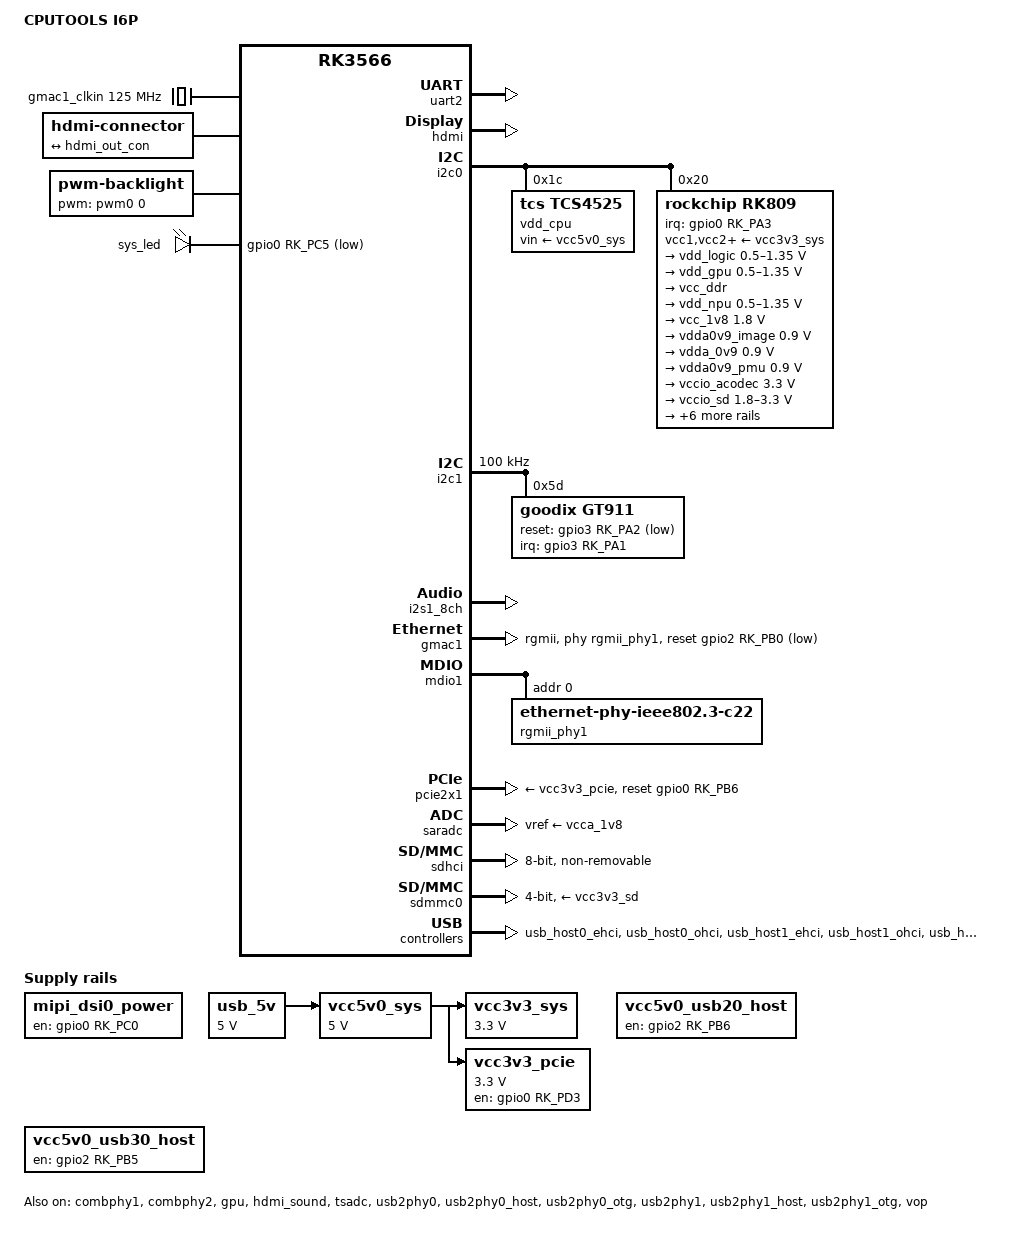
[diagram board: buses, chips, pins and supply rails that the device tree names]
// SPDX-License-Identifier: (GPL-2.0+ OR MIT)
/*
* Copyright (c) 2021 Rockchip Electronics Co., Ltd.
* Copyright (c) 2023 cputools <846863428@qq.com>
*/

/dts-v1/;
#include <dt-bindings/gpio/gpio.h>
#include <dt-bindings/leds/common.h>
#include <dt-bindings/pinctrl/rockchip.h>
#include <dt-bindings/soc/rockchip,vop2.h>
#include "rk3566.dtsi"

/ {
	model = "CPUTOOLS I6P";
	compatible = "i2c,cputools-i6p", "rockchip,rk3566";

	aliases {
		ethernet0 = &gmac1;
		mmc0 = &sdmmc0;
		mmc1 = &sdhci;
	};

	chosen: chosen {
		stdout-path = "serial2:1500000n8";
	};

	gmac1_clkin: external-gmac1-clock {
		compatible = "fixed-clock";
		clock-frequency = <125000000>;
		clock-output-names = "gmac1_clkin";
		#clock-cells = <0>;
	};
	
	hdmi-con {
		compatible = "hdmi-connector";
		type = "a";

		port {
			hdmi_con_in: endpoint {
				remote-endpoint = <&hdmi_out_con>;
			};
		};
	};

	backlight: backlight {
		status = "okay";
		compatible = "pwm-backlight";
		pwms = <&pwm0 0 50000 0>;
		brightness-levels = <
			 95  95  95  95  95  95  95  95
			 95  95  95  95  95  95  95  95
			 95  95  95  95  95  95  95  95
			 95  95  95  95  95  95  95  95
			 95  95  95  95  95  95  95  95
			 95  95  95  95  95  95  95  95
			 95  95  95  95  95  95  95  95
			 95  95  95  95  95  95  95  95
			 95  95  95  95  95  95  95  95
			 95  95  95  95  95  95  95  95
			 95  95  95  95  95  95  95  95
			 88  89  90  91  92  93  94  95
			 96  97  98  99 100 101 102 103
			104 105 106 107 108 109 110 111
			112 113 114 115 116 117 118 119
			120 121 122 123 124 125 126 127
			128 129 130 131 132 133 134 135
			136 137 138 139 140 141 142 143
			144 145 146 147 148 149 150 151
			152 153 154 155 156 157 158 159
			160 161 162 163 164 165 166 167
			168 169 170 171 172 173 174 175
			176 177 178 179 180 181 182 183
			184 185 186 187 188 189 190 191
			192 193 194 195 196 197 198 199
			200 201 202 203 204 205 206 207
			208 209 210 211 212 213 214 215
			216 217 218 219 220 221 222 223
			224 225 226 227 228 229 230 231
			232 233 234 235 236 237 238 239
			240 241 242 243 244 245 246 247
			248 249 250 251 252 253 254 255
		>;
		default-brightness-level = <200>;
	};

	mipi_dsi0_power: mipi-dsi0-power-regulator {
		compatible = "regulator-fixed";
		enable-active-high;
		gpio = <&gpio0 RK_PC0 GPIO_ACTIVE_HIGH>;
		pinctrl-names = "default";
		pinctrl-0 = <&mipi_dsi0_pwr_en>;
		regulator-name = "mipi_dsi0_power";
		regulator-always-on;
	};

	otp: otp@fe38c000 {
		compatible = "rockchip,rk3568-otp";
		reg = <0x0 0xfe38c000 0x0 0x4000>;
		#address-cells = <1>;
		#size-cells = <1>;
		clocks = <&cru CLK_OTPC_NS_USR>, <&cru CLK_OTPC_NS_SBPI>,
			 <&cru PCLK_OTPC_NS>, <&cru PCLK_OTPPHY>;
		clock-names = "usr", "sbpi", "apb", "phy";
		resets = <&cru SRST_OTPPHY>;
		reset-names = "otp_phy";

		/* Data cells */
		cpu_code: cpu-code@2 {
			reg = <0x02 0x2>;
		};
		otp_cpu_version: cpu-version@8 {
			reg = <0x08 0x1>;
			bits = <3 3>;
		};
		mbist_vmin: mbist-vmin@9 {
			reg = <0x09 0x1>;
			bits = <0 4>;
		};
		otp_id: id@a {
			reg = <0x0a 0x10>;
		};
		cpu_leakage: cpu-leakage@1a {
			reg = <0x1a 0x1>;
		};
		log_leakage: log-leakage@1b {
			reg = <0x1b 0x1>;
		};
		npu_leakage: npu-leakage@1c {
			reg = <0x1c 0x1>;
		};
		gpu_leakage: gpu-leakage@1d {
			reg = <0x1d 0x1>;
		};
		core_pvtm:core-pvtm@2a {
			reg = <0x2a 0x2>;
		};
	};

	dmc_opp_table: dmc-opp-table {
		compatible = "operating-points-v2";

		mbist-vmin = <825000 900000 950000>;
		nvmem-cells = <&log_leakage>, <&core_pvtm>, <&mbist_vmin>;
		nvmem-cell-names = "leakage", "pvtm", "mbist-vmin";
		rockchip,temp-hysteresis = <5000>;
		rockchip,low-temp = <0>;
		rockchip,low-temp-adjust-volt = <
			/* MHz    MHz    uV */
			   0      1560   75000
		>;
		rockchip,leakage-voltage-sel = <
			1   80    0
			81  254   1
		>;
		rockchip,pvtm-voltage-sel = <
			0        84000   0
			84001    100000  1
		>;
		rockchip,pvtm-ch = <0 5>;

		opp-1560000000 {
			opp-hz = /bits/ 64 <1560000000>;
			opp-microvolt = <900000>;
			opp-microvolt-L0 = <900000>;
			opp-microvolt-L1 = <850000>;
		};
	};

	dfi: dfi@fe230000 {
		reg = <0x00 0xfe230000 0x00 0x400>;
		compatible = "rockchip,rk3568-dfi";
		rockchip,pmugrf = <&pmugrf>;
		status = "disabled";
	};

	vop: vop@fe040000 {
		compatible = "rockchip,rk3568-vop";
		reg = <0x0 0xfe040000 0x0 0x3000>, <0x0 0xfe044000 0x0 0x1000>;
		reg-names = "regs", "gamma_lut";
		rockchip,grf = <&grf>;
		interrupts = <GIC_SPI 148 IRQ_TYPE_LEVEL_HIGH>;
		clocks = <&cru ACLK_VOP>, <&cru HCLK_VOP>, <&cru DCLK_VOP0>, <&cru DCLK_VOP1>, <&cru DCLK_VOP2>;
		clock-names = "aclk_vop", "hclk_vop", "dclk_vp0", "dclk_vp1", "dclk_vp2";
		iommus = <&vop_mmu>;
		power-domains = <&power RK3568_PD_VO>;
		status = "disabled";

		vop_out: ports {
			#address-cells = <1>;
			#size-cells = <0>;

			vp0: port@0 {
				#address-cells = <1>;
				#size-cells = <0>;
				reg = <0>;

				vp0_out_dsi0: endpoint@0 {
					reg = <0>;
					remote-endpoint = <&dsi0_in_vp0>;
				};

				vp0_out_dsi1: endpoint@1 {
					reg = <1>;
					remote-endpoint = <&dsi1_in_vp0>;
				};

				vp0_out_edp: endpoint@2 {
					reg = <2>;
					remote-endpoint = <&edp_in_vp0>;
				};
			};

			vp1: port@1 {
				#address-cells = <1>;
				#size-cells = <0>;
				reg = <1>;

				vp1_out_dsi0: endpoint@0 {
					reg = <0>;
					remote-endpoint = <&dsi0_in_vp1>;
				};

				vp1_out_dsi1: endpoint@1 {
					reg = <1>;
					remote-endpoint = <&dsi1_in_vp1>;
				};


			};

			vp2: port@2 {
				#address-cells = <1>;
				#size-cells = <0>;
				reg = <2>;
			};
		};
	};

	dsi0: dsi@fe060000 {
		compatible = "rockchip,rk3568-mipi-dsi";
		reg = <0x0 0xfe060000 0x0 0x10000>;
		interrupts = <GIC_SPI 68 IRQ_TYPE_LEVEL_HIGH>;
		clocks = <&cru PCLK_DSITX_0>, <&cru HCLK_VO>, <&video_phy0>;
		clock-names = "pclk", "hclk", "hs_clk";
		resets = <&cru SRST_P_DSITX_0>;
		reset-names = "apb";
		phys = <&video_phy0>;
		phy-names = "mipi_dphy";
		power-domains = <&power RK3568_PD_VO>;
		rockchip,grf = <&grf>;
		#address-cells = <1>;
		#size-cells = <0>;
		status = "disabled";

		ports {
			#address-cells = <1>;
			#size-cells = <0>;

			dsi0_in: port@0 {
				reg = <0>;
				#address-cells = <1>;
				#size-cells = <0>;

				dsi0_in_vp0: endpoint@0 {
					reg = <0>;
					remote-endpoint = <&vp0_out_dsi0>;
					status = "disabled";
				};

				dsi0_in_vp1: endpoint@1 {
					reg = <1>;
					remote-endpoint = <&vp1_out_dsi0>;
					status = "disabled";
				};
			};

			port@1 {
				reg = <1>;
				dsi0_out_panel: endpoint {
					remote-endpoint = <&panel_in_dsi0>;
				};
			};
		};

		dsi0_panel: panel@0 {
			status = "disabled";
			compatible = "simple-panel-dsi";
			reg = <0x0>;
			backlight = <&backlight>;
			// reset-gpios = < >;

			// enable-delay-ms = <35>;
			// prepare-delay-ms = <6>;
			// reset-delay-ms = <0>;
			// init-delay-ms = <20>;
			// unprepare-delay-ms = <0>;
			// disable-delay-ms = <20>;

			// size,width = <74>;
			// size,height = <133>;

			// dsi,flags = <(MIPI_DSI_MODE_VIDEO | MIPI_DSI_MODE_VIDEO_BURST | MIPI_DSI_MODE_LPM | MIPI_DSI_MODE_EOT_PACKET)>;
			// dsi,format = <MIPI_DSI_FMT_RGB888>;
			// dsi,lanes  = <4>;

			// panel-init-sequence = [
			// ];

			// panel-exit-sequence = [
			// ];

			// disp_timings0: display-timings {
			// 	native-mode = <&dsi0_timing0>;
			// 	dsi0_timing0: timing0 {
			// 		clock-frequency = <131376000>;
			// 		hactive = <1080>;
			// 		vactive = <1920>;
			// 		hsync-len = <10>;
			// 		hback-porch = <20>;
			// 		hfront-porch = <10>;
			// 		vsync-len = <5>;
			// 		vback-porch = <20>;
			// 		vfront-porch = <10>;
			// 		hsync-active = <0>;
			// 		vsync-active = <0>;
			// 		de-active = <0>;
			// 		pixelclk-active = <0>;
			// 	};
			// };

			ports {
				#address-cells = <1>;
				#size-cells = <0>;
				port@0 {
					reg = <0>;
					panel_in_dsi0: endpoint {
						remote-endpoint = <&dsi0_out_panel>;
					};
				};
			};
		};
	};

	dsi1: dsi@fe070000 {
		compatible = "rockchip,rk3568-mipi-dsi";
		reg = <0x0 0xfe070000 0x0 0x10000>;
		interrupts = <GIC_SPI 69 IRQ_TYPE_LEVEL_HIGH>;
		clocks = <&cru PCLK_DSITX_1>, <&cru HCLK_VO>, <&video_phy1>;
		clock-names = "pclk", "hclk", "hs_clk";
		resets = <&cru SRST_P_DSITX_1>;
		reset-names = "apb";
		phys = <&video_phy1>;
		phy-names = "mipi_dphy";
		power-domains = <&power RK3568_PD_VO>;
		rockchip,grf = <&grf>;
		#address-cells = <1>;
		#size-cells = <0>;
		status = "disabled";

		ports {
			#address-cells = <1>;
			#size-cells = <0>;

			dsi1_in: port@0 {
				reg = <0>;
				#address-cells = <1>;
				#size-cells = <0>;

				dsi1_in_vp0: endpoint@0 {
					reg = <0>;
					remote-endpoint = <&vp0_out_dsi1>;
					status = "disabled";
				};

				dsi1_in_vp1: endpoint@1 {
					reg = <1>;
					remote-endpoint = <&vp1_out_dsi1>;
					status = "disabled";
				};
			};
		};
	};

	reserved_memory: reserved-memory {
		#address-cells = <2>;
		#size-cells = <2>;
		ranges;

		drm_logo: drm-logo@00000000 {
			compatible = "rockchip,drm-logo";
			reg = <0x0 0x0 0x0 0x0>;
		};

		drm_cubic_lut: drm-cubic-lut@00000000 {
			compatible = "rockchip,drm-cubic-lut";
			reg = <0x0 0x0 0x0 0x0>;
		};
	};

	nocp_cpu: nocp-cpu@fe102000 {
		compatible = "rockchip,rk3568-nocp";
		reg = <0x0 0xfe102000 0x0 0x400>;
	};

	dmc: dmc {
		compatible = "rockchip,rk3568-dmc";
		interrupts = <GIC_SPI 10 IRQ_TYPE_LEVEL_HIGH>;
		interrupt-names = "complete";
		devfreq-events = <&dfi>, <&nocp_cpu>;
		clocks = <&scmi_clk 3>;
		clock-names = "dmc_clk";
		operating-points-v2 = <&dmc_opp_table>;
		vop-bw-dmc-freq = <
		/* min_bw(MB/s) max_bw(MB/s) freq(KHz) */
			0	286	324000
			287	99999	528000
		>;
		vop-frame-bw-dmc-freq = <
		/* min_bw(MB/s) max_bw(MB/s) freq(KHz) */
			0	620	324000
			621	99999	780000
		>;
		cpu-bw-dmc-freq = <
		/* min_bw(MB/s) max_bw(MB/s) freq(KHz) */
			0	350	324000
			351	400	528000
			401	99999	780000
		>;
		upthreshold = <40>;
		downdifferential = <20>;
		auto-min-freq = <324000>;
		auto-freq-en = <1>;
		#cooling-cells = <2>;
		status = "disabled";
	};

	display_subsystem: display-subsystem {
		compatible = "rockchip,display-subsystem";
		memory-region = <&drm_logo>, <&drm_cubic_lut>;
		memory-region-names = "drm-logo", "drm-cubic-lut";
		ports = <&vop_out>;
		devfreq = <&dmc>;

		route {
			route_dsi0: route-dsi0 {
				status = "disabled";
				logo,uboot = "logo.bmp";
				logo,kernel = "logo_kernel.bmp";
				logo,mode = "center";
				charge_logo,mode = "center";
				connect = <&vp0_out_dsi0>;
			};
			route_dsi1: route-dsi1 {
				status = "disabled";
				logo,uboot = "logo.bmp";
				logo,kernel = "logo_kernel.bmp";
				logo,mode = "center";
				charge_logo,mode = "center";
				connect = <&vp0_out_dsi1>;
			};
		};
	};

	gpio-leds {
		compatible = "gpio-leds";

		sys_led: sys-led {
			label = "sys_led";
			linux,default-trigger = "heartbeat";
			default-state = "on";
			gpios = <&gpio0 RK_PC5 GPIO_ACTIVE_LOW>;
			pinctrl-names = "default";
			pinctrl-0 = <&sys_led_pin>;
		};
	};

	usb_5v: usb-5v-regulator {
		compatible = "regulator-fixed";
		regulator-name = "usb_5v";
		regulator-always-on;
		regulator-boot-on;
		regulator-min-microvolt = <5000000>;
		regulator-max-microvolt = <5000000>;
	};

	vcc5v0_sys: vcc5v0-sys-regulator {
		compatible = "regulator-fixed";
		regulator-name = "vcc5v0_sys";
		regulator-always-on;
		regulator-boot-on;
		regulator-min-microvolt = <5000000>;
		regulator-max-microvolt = <5000000>;
		vin-supply = <&usb_5v>;
	};

	vcc3v3_sys: vcc3v3-sys-regulator {
		compatible = "regulator-fixed";
		regulator-name = "vcc3v3_sys";
		regulator-always-on;
		regulator-boot-on;
		regulator-min-microvolt = <3300000>;
		regulator-max-microvolt = <3300000>;
		vin-supply = <&vcc5v0_sys>;
	};

	vcc3v3_pcie: vcc3v3-pcie-regulator {
		compatible = "regulator-fixed";
		regulator-name = "vcc3v3_pcie";
		regulator-min-microvolt = <3300000>;
		regulator-max-microvolt = <3300000>;
		enable-active-high;
		gpio = <&gpio0 RK_PD3 GPIO_ACTIVE_HIGH>;
		startup-delay-us = <5000>;
		vin-supply = <&vcc5v0_sys>;
	};

	vcc5v0_usb20_host: vcc5v0-usb20-host-regulator {
		compatible = "regulator-fixed";
		enable-active-high;
		gpio = <&gpio2 RK_PB6 GPIO_ACTIVE_HIGH>;
		pinctrl-names = "default";
		pinctrl-0 = <&vcc5v0_usb20_host_en>;
		regulator-name = "vcc5v0_usb20_host";
		regulator-always-on;
	};

	vcc5v0_usb30_host: vcc5v0-usb30-host-regulator {
		compatible = "regulator-fixed";
		enable-active-high;
		gpio = <&gpio2 RK_PB5 GPIO_ACTIVE_HIGH>;
		pinctrl-names = "default";
		pinctrl-0 = <&vcc5v0_usb30_host_en>;
		regulator-name = "vcc5v0_usb30_host";
		regulator-always-on;
	};
};

&uart2 {
	status = "okay";
};

&combphy1 {
	status = "okay";
};

&combphy2 {
	status = "okay";
};

&cpu0 {
	cpu-supply = <&vdd_cpu>;
};

&cpu1 {
	cpu-supply = <&vdd_cpu>;
};

&cpu2 {
	cpu-supply = <&vdd_cpu>;
};

&cpu3 {
	cpu-supply = <&vdd_cpu>;
};

&gpu {
	mali-supply = <&vdd_gpu>;
	status = "okay";
};

&hdmi {
	avdd-0v9-supply = <&vdda0v9_image>;
	avdd-1v8-supply = <&vcca1v8_image>;
	status = "okay";
};

&hdmi_in {
	hdmi_in_vp0: endpoint {
		remote-endpoint = <&vp0_out_hdmi>;
	};
};

&hdmi_out {
	hdmi_out_con: endpoint {
		remote-endpoint = <&hdmi_con_in>;
	};
};

&hdmi_sound {
	status = "okay";
};

&i2c0 {
	status = "okay";

	vdd_cpu: regulator@1c {
		compatible = "tcs,tcs4525";
		reg = <0x1c>;
		fcs,suspend-voltage-selector = <1>;
		regulator-name = "vdd_cpu";
		regulator-always-on;
		regulator-boot-on;
		regulator-min-microvolt = <800000>;
		regulator-max-microvolt = <1150000>;
		regulator-ramp-delay = <2300>;
		vin-supply = <&vcc5v0_sys>;

		regulator-state-mem {
			regulator-off-in-suspend;
		};
	};

	rk809: pmic@20 {
		compatible = "rockchip,rk809";
		reg = <0x20>;
		interrupt-parent = <&gpio0>;
		interrupts = <RK_PA3 IRQ_TYPE_LEVEL_LOW>;
		clock-output-names = "rk808-clkout1", "rk808-clkout2";

		pinctrl-names = "default";
		pinctrl-0 = <&pmic_int>;
		rockchip,system-power-controller;
		wakeup-source;
		#clock-cells = <1>;

		vcc1-supply = <&vcc3v3_sys>;
		vcc2-supply = <&vcc3v3_sys>;
		vcc3-supply = <&vcc3v3_sys>;
		vcc4-supply = <&vcc3v3_sys>;
		vcc5-supply = <&vcc3v3_sys>;
		vcc6-supply = <&vcc3v3_sys>;
		vcc7-supply = <&vcc3v3_sys>;
		vcc8-supply = <&vcc3v3_sys>;
		vcc9-supply = <&vcc3v3_sys>;

		regulators {
			vdd_logic: DCDC_REG1 {
				regulator-name = "vdd_logic";
				regulator-always-on;
				regulator-boot-on;
				regulator-min-microvolt = <500000>;
				regulator-max-microvolt = <1350000>;
				regulator-init-microvolt = <900000>;
				regulator-ramp-delay = <6001>;
				regulator-initial-mode = <0x2>;

				regulator-state-mem {
					regulator-off-in-suspend;
				};
			};

			vdd_gpu: DCDC_REG2 {
				regulator-name = "vdd_gpu";
				regulator-always-on;
				regulator-boot-on;
				regulator-min-microvolt = <500000>;
				regulator-max-microvolt = <1350000>;
				regulator-init-microvolt = <900000>;
				regulator-ramp-delay = <6001>;
				regulator-initial-mode = <0x2>;

				regulator-state-mem {
					regulator-off-in-suspend;
				};
			};

			vcc_ddr: DCDC_REG3 {
				regulator-name = "vcc_ddr";
				regulator-always-on;
				regulator-boot-on;
				regulator-initial-mode = <0x2>;

				regulator-state-mem {
					regulator-on-in-suspend;
				};
			};

			vdd_npu: DCDC_REG4 {
				regulator-name = "vdd_npu";
				regulator-always-on;
				regulator-boot-on;
				regulator-min-microvolt = <500000>;
				regulator-max-microvolt = <1350000>;
				regulator-init-microvolt = <900000>;
				regulator-ramp-delay = <6001>;
				regulator-initial-mode = <0x2>;

				regulator-state-mem {
					regulator-off-in-suspend;
				};
			};

			vcc_1v8: DCDC_REG5 {
				regulator-name = "vcc_1v8";
				regulator-always-on;
				regulator-boot-on;
				regulator-min-microvolt = <1800000>;
				regulator-max-microvolt = <1800000>;

				regulator-state-mem {
					regulator-off-in-suspend;
				};
			};

			vdda0v9_image: LDO_REG1 {
				regulator-name = "vdda0v9_image";
				regulator-boot-on;
				regulator-always-on;
				regulator-min-microvolt = <900000>;
				regulator-max-microvolt = <900000>;

				regulator-state-mem {
					regulator-off-in-suspend;
				};
			};

			vdda_0v9: LDO_REG2 {
				regulator-name = "vdda_0v9";
				regulator-always-on;
				regulator-boot-on;
				regulator-min-microvolt = <900000>;
				regulator-max-microvolt = <900000>;

				regulator-state-mem {
					regulator-off-in-suspend;
				};
			};

			vdda0v9_pmu: LDO_REG3 {
				regulator-name = "vdda0v9_pmu";
				regulator-always-on;
				regulator-boot-on;
				regulator-min-microvolt = <900000>;
				regulator-max-microvolt = <900000>;

				regulator-state-mem {
					regulator-on-in-suspend;
					regulator-suspend-microvolt = <900000>;
				};
			};

			vccio_acodec: LDO_REG4 {
				regulator-name = "vccio_acodec";
				regulator-always-on;
				regulator-boot-on;
				regulator-min-microvolt = <3300000>;
				regulator-max-microvolt = <3300000>;

				regulator-state-mem {
					regulator-off-in-suspend;
				};
			};

			vccio_sd: LDO_REG5 {
				regulator-name = "vccio_sd";
				regulator-always-on;
				regulator-boot-on;
				regulator-min-microvolt = <1800000>;
				regulator-max-microvolt = <3300000>;

				regulator-state-mem {
					regulator-off-in-suspend;
				};
			};

			vcc3v3_pmu: LDO_REG6 {
				regulator-name = "vcc3v3_pmu";
				regulator-always-on;
				regulator-boot-on;
				regulator-min-microvolt = <3300000>;
				regulator-max-microvolt = <3300000>;

				regulator-state-mem {
					regulator-on-in-suspend;
					regulator-suspend-microvolt = <3300000>;
				};
			};

			vcca_1v8: LDO_REG7 {
				regulator-name = "vcca_1v8";
				regulator-always-on;
				regulator-boot-on;
				regulator-min-microvolt = <1800000>;
				regulator-max-microvolt = <1800000>;

				regulator-state-mem {
					regulator-off-in-suspend;
				};
			};

			vcca1v8_pmu: LDO_REG8 {
				regulator-name = "vcca1v8_pmu";
				regulator-always-on;
				regulator-boot-on;
				regulator-min-microvolt = <1800000>;
				regulator-max-microvolt = <1800000>;

				regulator-state-mem {
					regulator-on-in-suspend;
					regulator-suspend-microvolt = <1800000>;
				};
			};

			vcca1v8_image: LDO_REG9 {
				regulator-name = "vcca1v8_image";
				regulator-always-on;
				regulator-boot-on;
				regulator-min-microvolt = <1800000>;
				regulator-max-microvolt = <1800000>;

				regulator-state-mem {
					regulator-off-in-suspend;
				};
			};

			vcc_3v3: SWITCH_REG1 {
				regulator-name = "vcc_3v3";
				regulator-always-on;
				regulator-boot-on;

				regulator-state-mem {
					regulator-off-in-suspend;
				};
			};

			vcc3v3_sd: SWITCH_REG2 {
				regulator-name = "vcc3v3_sd";
				regulator-always-on;
				regulator-boot-on;

				regulator-state-mem {
					regulator-off-in-suspend;
				};
			};
		};
	};
};

&i2c1 {
	status = "okay";
	clock-frequency = <100000>;

	gt911: gt911@5d {
		status = "okay";
		compatible = "goodix,gt911";
		reg = <0x5d>;
		interrupt-parent = <&gpio0>;
		interrupts = <RK_PB5 IRQ_TYPE_LEVEL_LOW>;
		reset-gpios = <&gpio0 RK_PB6 GPIO_ACTIVE_LOW>;
		irq-gpios = <&gpio0 RK_PB5 GPIO_ACTIVE_HIGH>;
		touchscreen-inverted-x = <1>;
		touchscreen-inverted-y = <1>;
	};
};

&i2s1_8ch {
	rockchip,trcm-sync-tx-only;
	status = "okay";
};

&gmac1 {
	phy-mode = "rgmii";
	clock_in_out = "output";
	snps,reset-gpio = <&gpio2 RK_PB0 GPIO_ACTIVE_LOW>;
	snps,reset-active-low;
	/* Reset time is 75ms, 100ms */
	snps,reset-delays-us = <0 75000 100000>;
	assigned-clocks = <&cru SCLK_GMAC1_RX_TX>, <&cru SCLK_GMAC1>;
	assigned-clock-parents = <&cru SCLK_GMAC1_RGMII_SPEED>, <&cru CLK_MAC1_2TOP>;
	assigned-clock-rates = <0>, <125000000>;
	pinctrl-names = "default";
	pinctrl-0 = <&gmac1m1_miim
			&gmac1m1_tx_bus2_level3
			&gmac1m1_rx_bus2
			&gmac1m1_rgmii_clk_level2
			&gmac1m1_rgmii_bus_level3>;
	tx_delay = <0x1a>;
	rx_delay = <0x0c>; 
	phy-handle = <&rgmii_phy1>;
	status = "okay";
};

&mdio1 {
	rgmii_phy1: phy@0 {
		compatible = "ethernet-phy-ieee802.3-c22";
		reg = <0x0>;
	};
};

&pcie2x1 {
	reset-gpios = <&gpio0 RK_PB6 GPIO_ACTIVE_HIGH>;
	disable-gpios = <&gpio0 RK_PA6 GPIO_ACTIVE_HIGH>;
	vpcie3v3-supply = <&vcc3v3_pcie>;
	status = "okay";
};

&pinctrl {
	leds {
		sys_led_pin: sys-status-led-pin {
			rockchip,pins = <0 RK_PC7 RK_FUNC_GPIO &pcfg_pull_none>;
		};
	};

	usb {
		vcc5v0_usb20_host_en: vcc5v0-usb20-host-en {
			rockchip,pins = <2 RK_PB6 RK_FUNC_GPIO &pcfg_pull_none>;
		};

		vcc5v0_usb30_host_en: vcc5v0-usb30-host-en {
			rockchip,pins = <2 RK_PB5 RK_FUNC_GPIO &pcfg_pull_none>;
		};
	};

	pmic {
		pmic_int: pmic_int {
			rockchip,pins =
				<0 RK_PA3 RK_FUNC_GPIO &pcfg_pull_up>;
		};
	};

	lcd {
		mipi_dsi0_pwr_en: mipi-dsi0-pwr-en {
			rockchip,pins = <0 RK_PC0 RK_FUNC_GPIO &pcfg_pull_none>;
		};
	};
};

&pmu_io_domains {
	pmuio2-supply = <&vcc3v3_pmu>;
	vccio1-supply = <&vccio_acodec>;
	vccio3-supply = <&vccio_sd>;
	vccio4-supply = <&vcc_3v3>;
	vccio5-supply = <&vcc_3v3>;
	vccio6-supply = <&vcc_1v8>;
	vccio7-supply = <&vcc_3v3>;
	status = "okay";
};

&saradc {
	vref-supply = <&vcca_1v8>;
	status = "okay";
};

&tsadc {
	rockchip,hw-tshut-mode = <1>;
	rockchip,hw-tshut-polarity = <0>;
	status = "okay";
};

&sdhci {
	assigned-clocks = <&cru BCLK_EMMC>, <&cru TCLK_EMMC>, <&cru CCLK_EMMC>;
	assigned-clock-rates = <200000000>, <24000000>, <200000000>;
	bus-width = <8>;
	max-frequency = <200000000>;
	mmc-hs200-1_8v;		
	non-removable;	
	pinctrl-names = "default";
	pinctrl-0 = <&emmc_bus8 &emmc_clk &emmc_cmd>;	
	supports-emmc;
	status = "okay";
};

&sdmmc0 {
	max-frequency = <150000000>;
	supports-sd;
	bus-width = <4>;
	cap-mmc-highspeed;
	cap-sd-highspeed;
	disable-wp;
	sd-uhs-sdr104;
	vmmc-supply = <&vcc3v3_sd>;
	vqmmc-supply = <&vccio_sd>;
	pinctrl-names = "default";
	pinctrl-0 = <&sdmmc0_bus4 &sdmmc0_clk &sdmmc0_cmd &sdmmc0_det>;
	status = "okay";
};

/* USB OTG/USB Host_1 USB 2.0 Comb */
&usb2phy0 {
	status = "okay";
};

&usb2phy0_host {
	status = "okay";
};

&usb2phy0_otg {
	status = "okay";
};

&usb_host0_ehci {
	status = "okay";
};

&usb_host0_ohci {
	status = "okay";
};

/* USB Host_2/USB Host_3 USB 2.0 Comb */
&usb2phy1 {
	status = "okay";
};

&usb2phy1_host {
	status = "okay";
};

&usb2phy1_otg {
	status = "okay";
};

&usb_host1_ehci {
	status = "okay";
};

&usb_host1_ohci {
	status = "okay";
};

/* USB3.0 Host */
&usb_host1_xhci {
	status = "okay";
};

&vop {
	assigned-clocks = <&cru DCLK_VOP0>, <&cru DCLK_VOP1>;
	assigned-clock-parents = <&pmucru PLL_HPLL>, <&cru PLL_VPLL>;
	status = "okay";
};

&vop_mmu {
	status = "okay";
};

&vp0 {
	vp0_out_hdmi: endpoint@ROCKCHIP_VOP2_EP_HDMI0 {
		reg = <ROCKCHIP_VOP2_EP_HDMI0>;
		remote-endpoint = <&hdmi_in_vp0>;
	};
};

&route_dsi0 {
	status = "okay";
	connect = <&vp0_out_dsi0>;
};

&dsi0_in_vp0 {
	status = "okay";
};

&dsi0_in_vp1 {
	status = "disabled";
};

&dsi0_panel {
	reset-gpios = <&gpio3 RK_PA4 GPIO_ACTIVE_LOW>;
};

&gt911 {
	interrupt-parent = <&gpio3>;
	interrupts = <RK_PA1 IRQ_TYPE_LEVEL_LOW>;
	reset-gpios = <&gpio3 RK_PA2 GPIO_ACTIVE_LOW>;
	irq-gpios = <&gpio3 RK_PA1 GPIO_ACTIVE_HIGH>;
};
